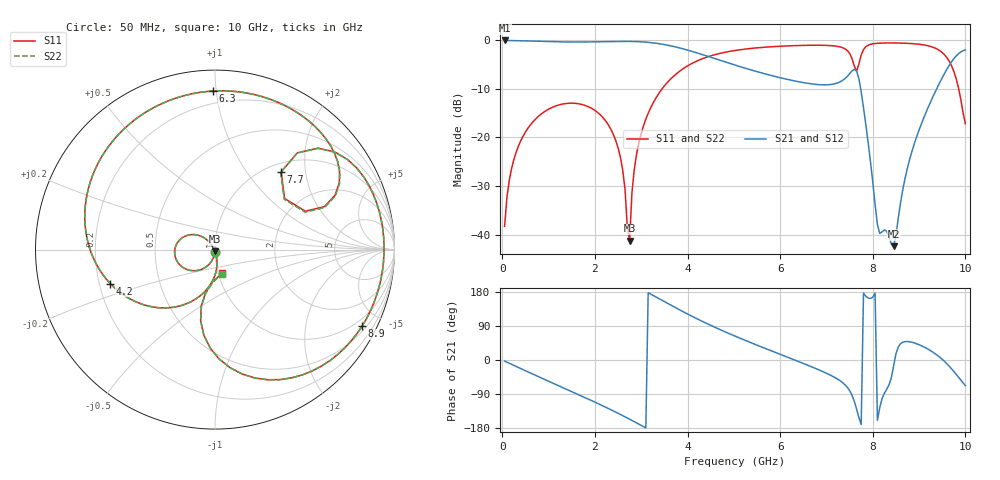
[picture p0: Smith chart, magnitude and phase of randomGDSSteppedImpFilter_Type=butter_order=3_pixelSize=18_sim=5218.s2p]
! freq	dB(S11)	phase(S11)	dB(S12)	phase(S12)
!  dB(S21)	phase(S21)	dB(S22)	phase(S22)
!S-par simulation data
#  GHz  S  DB  R 50
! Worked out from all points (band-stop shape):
!   200 points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, 50 MHz to 10 GHz, reference 50 ohm
!   highest |S21| = -0.01 dB at 50 MHz (marker M1); lowest = -42.4 dB at 8.45 GHz (marker M2)
!   |S21| within 3 dB of the highest: start of sweep to 4.35 GHz; 9.821 GHz to end of sweep
!   lowest |S11| = -41.3 dB at 2.75 GHz (marker M3), VSWR 1.02, Z = 49.9 - j0.852 ohm
!   |S11| at or under -10 dB: start of sweep to 3.449 GHz; 9.855 GHz to end of sweep
!   |S22| runs from -41.6 to -0.5 dB; largest |S21 - S12| = 0
!   S11 on the Smith chart (normalised r, x): 50 MHz: 1.00, -0.02; 4.2 GHz: 0.25, -0.15; 6.3 GHz: 0.12, +0.98; 7.7 GHz: 1.15, +1.48; 8.9 GHz: 0.68, -3.97; 10 GHz: 1.04, -0.28
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0.05  -38.31 -92.5  -0.01 -2.9  -0.01 -2.9  -38.31 -92.5
0.2  -26.42 -101.5  -0.03 -11.4  -0.03 -11.4  -26.42 -101.5
0.5  -18.88 -118.8  -0.09 -28.3  -0.09 -28.3  -18.88 -118.9
1.75  -13.28 172.4  -0.32 -97.1  -0.32 -97.1  -13.28 172.4
2.45  -20.63 133.5  -0.21 -137.6  -0.21 -137.6  -20.63 133.2
2.6  -26.69 126.8  -0.19 -146.8  -0.19 -146.8  -26.70 126.0
2.75  -41.28 -98.3  -0.20 -156.3  -0.20 -156.3  -41.60 -93.8
2.9  -23.42 -80.5  -0.24 -166.0  -0.24 -166.0  -23.42 -79.9
3.4  -10.64 -111.1  -0.69 160.7  -0.69 160.7  -10.64 -110.9
4.2  -4.25 -162.0  -2.56 109.1  -2.56 109.1  -4.25 -161.9
5.05  -2.04 151.3  -5.15 61.8  -5.15 61.8  -2.04 151.3
6.3  -1.08 90.8  -8.33 0.6  -8.33 0.6  -1.08 90.7
6.7  -0.99 71.5  -8.98 -19.0  -8.98 -19.0  -0.99 71.4
7.4  -1.73 32.1  -7.86 -65.4  -7.86 -65.4  -1.74 31.8
7.6  -5.25 23.0  -5.94 -108.5  -5.94 -108.5  -5.30 22.6
7.7  -4.90 49.6  -7.87 -151.5  -7.87 -151.5  -4.96 49.7
8.1  -0.59 19.0  -37.93 -159.0  -37.93 -159.0  -0.59 18.9
8.35  -0.52 4.0  -40.38 -65.7  -40.38 -65.7  -0.52 3.8
8.45  -0.52 -1.7  -42.40 -15.7  -42.40 -15.7  -0.52 -1.8
8.9  -0.69 -27.6  -21.20 44.9  -21.20 44.9  -0.69 -27.7
9.5  -2.50 -72.6  -7.68 1.8  -7.68 1.8  -2.50 -72.7
10  -17.17 -73.2  -1.95 -67.7  -1.95 -67.7  -17.01 -73.2
